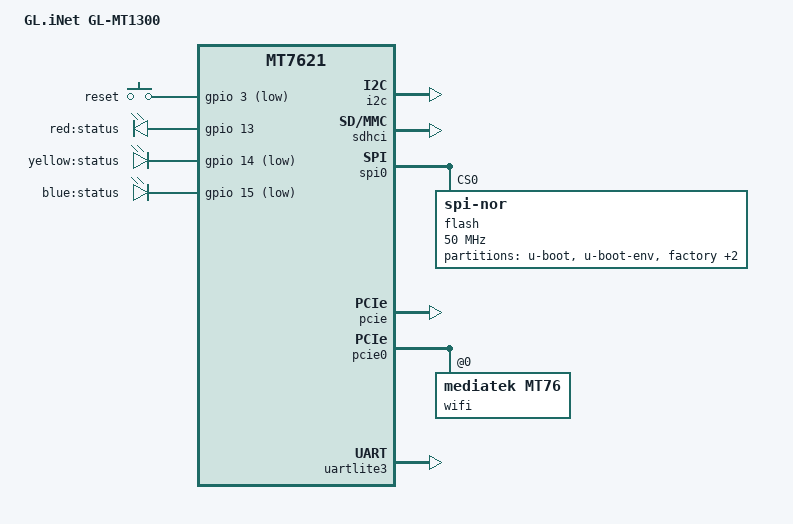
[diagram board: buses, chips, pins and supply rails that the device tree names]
// SPDX-License-Identifier: GPL-2.0-or-later OR MIT

#include "mt7621.dtsi"

#include <dt-bindings/gpio/gpio.h>
#include <dt-bindings/input/input.h>

/ {
	compatible = "glinet,gl-mt1300", "mediatek,mt7621-soc";
	model = "GL.iNet GL-MT1300";

	aliases {
		led-boot = &led_blue;
		led-failsafe = &led_blue;
		led-running = &led_blue;
		led-upgrade = &led_blue;
	};

	gl_hw {
		compatible = "gl-hw-info";

		#address-cells = <1>;
		#size-cells = <1>;
		model = "mt1300";
		wan = "wan";
		lan = "lan1 lan2 lan3 lan4";
		reset-button = "gpio-3";
		flash_size = <16>;
		switch-button = "gpio-16";
		radio = "radio0";
		usb-port = "1-1,2-1";
		factory_data {
			device_mac = "factory", "0x4000";
			device_ddns = "factory", "0x4010";
			device_sn_bak = "factory", "0x4020";
			device_sn = "factory", "0x4030";
			country_code = "factory", "0x4048";
		};
	};

	chosen {
		bootargs = "console=ttyS0,115200";
	};

	keys {
		compatible = "gpio-keys";

		reset {
			label = "reset";
			gpios = <&gpio 3 GPIO_ACTIVE_LOW>;
			linux,code = <KEY_RESTART>;
		};
	};

	leds {
		compatible = "gpio-leds";

		stat_r {
			label = "red:status";
			gpios = <&gpio 13 GPIO_ACTIVE_HIGH>;
		};

		stat_y {
			label = "yellow:status";
			gpios = <&gpio 14 GPIO_ACTIVE_LOW>;
		};

		led_blue: stat_b {
			label = "blue:status";
			gpios = <&gpio 15 GPIO_ACTIVE_LOW>;
		};
	};
};

&i2c {
	status = "okay";
};

&sdhci {
	status = "okay";
};

&spi0 {
	status = "okay";

	flash@0 {
		compatible = "jedec,spi-nor";
		reg = <0>;
		spi-max-frequency = <50000000>;
		broken-flash-reset;

		partitions {
			compatible = "fixed-partitions";
			#address-cells = <1>;
			#size-cells = <1>;

			partition@0 {
				label = "u-boot";
				reg = <0x0 0x30000>;
				read-only;
			};

			partition@30000 {
				label = "u-boot-env";
				reg = <0x30000 0x10000>;
				read-only;
			};

			factory: partition@40000 {
				label = "factory";
				reg = <0x40000 0x10000>;
				read-only;
			};

			partition@50000 {
				compatible = "denx,uimage";
				label = "firmware";
				reg = <0x50000 0x1f90000>;
			};

			partition@1ff0000 {
				label = "log";
                reg = <0x1fe0000 0x20000>;
			};
		};
	};
};

&pcie {
	status = "okay";
};

&pcie0 {
	wifi@0,0 {
		compatible = "mediatek,mt76";
		reg = <0x0000 0 0 0 0>;
		mediatek,mtd-eeprom = <&factory 0x0>;
		dbdc;
	};
};

&gmac0 {
	nvmem-cells = <&macaddr_factory_4000>;
	nvmem-cell-names = "mac-address";
	mac-address-increment = <1>;
};

&switch0 {
	ports {
		port@0 {
			status = "okay";
			label = "lan1";
		};

		port@1 {
			status = "okay";
			label = "lan2";
		};

		port@2 {
			status = "okay";
			label = "lan3";
		};

		port@3 {
			status = "okay";
			label = "lan4";
		};

		wan: port@4 {
			status = "okay";
			label = "wan";
			nvmem-cells = <&macaddr_factory_4000>;
			nvmem-cell-names = "mac-address";
		};
	};
};

&uartlite3 {
	status = "okay";
};

&state_default {
	gpio {
		group = "wdt", "jtag";
		function = "gpio";
	};
};

&factory {
	compatible = "nvmem-cells";
	#address-cells = <1>;
	#size-cells = <1>;

	macaddr_factory_4000: macaddr@4000 {
		reg = <0x4000 0x6>;
	};
};
